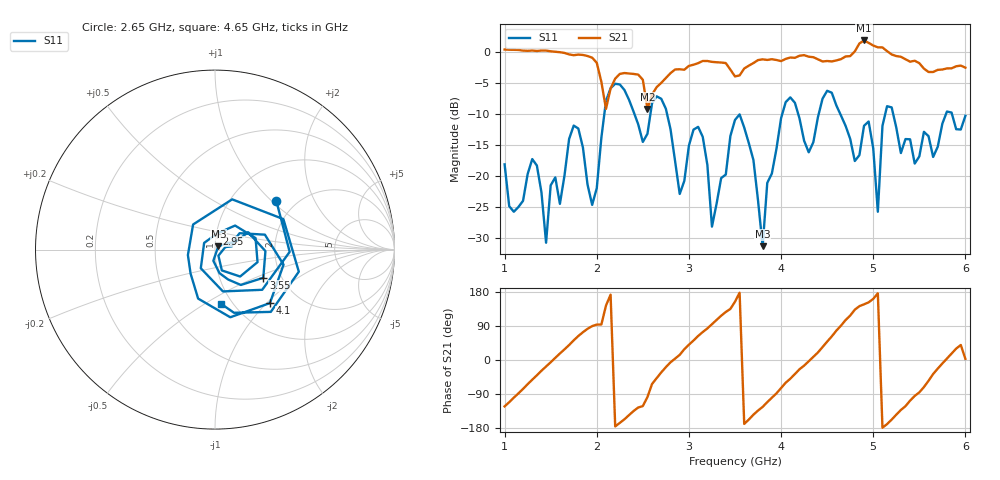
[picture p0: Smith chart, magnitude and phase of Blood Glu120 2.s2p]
! NanoVNA-App
! Date: 2024-03-21 14:39:56
! Start: 1GHz Stop: 6GHz Points: 101
! S-Parameter data: F S11 S21 S12 S22
# Hz S RI R 50
!	Frequency	S11_Real	S11_Imag	S21_Real	S21_Imag	S12_Real	S12_Imag	S22_Real	S22_Imag
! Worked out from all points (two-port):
!   101 points, 1 GHz to 6 GHz, reference 50 ohm
!   highest |S21| = 1.80 dB at 4.9 GHz (marker M1); lowest = -9.2 dB at 2.55 GHz (marker M2)
!   |S21| within 3 dB of the highest: start of sweep to 1.963 GHz; 4.652 GHz to 5.346 GHz (693.9 MHz wide, 13.9 % of centre)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
!   lowest |S11| = -31.4 dB at 3.8 GHz (marker M3), VSWR 1.06, Z = 51.9 + j2.01 ohm
!   |S11| at or under -10 dB: start of sweep to 2.083 GHz; 2.762 GHz to 4.014 GHz (1.253 GHz wide, 37 % of centre); 5.215 GHz to 5.791 GHz (576.1 MHz wide, 10.5 % of centre)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
!   S12 and S22 are empty: the file has one direction only
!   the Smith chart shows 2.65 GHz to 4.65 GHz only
!   S11 on the Smith chart (normalised r, x): 2.65 GHz: 1.60, +1.07; 2.95 GHz: 1.01, +0.18; 3.55 GHz: 1.62, -0.56; 4.1 GHz: 1.43, -1.04; 4.65 GHz: 0.89, -0.59
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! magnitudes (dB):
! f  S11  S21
! 1 GHz  -18.2  0.3
! 1.35 GHz  -18.4  0.1
! 1.45 GHz  -30.8  0.2
! 1.85 GHz  -15.5  -0.5
! 1.95 GHz  -24.7  -1.0
! 2.15 GHz  -5.9  -5.9
! 2.55 GHz  -13.3  -9.2
! 2.65 GHz  -7.2  -5.7
! 2.7 GHz  -7.6  -5.0
! 2.95 GHz  -20.9  -2.9
! 3.1 GHz  -12.1  -1.9
! 3.25 GHz  -28.2  -1.7
! 3.5 GHz  -11.0  -4.0
! 3.55 GHz  -10.1  -3.8
! 3.8 GHz  -31.4  -1.3
! 4.1 GHz  -7.4  -1.0
! 4.35 GHz  -14.6  -0.9
! 4.65 GHz  -10.3  -1.2
! 4.9 GHz  -12.0  1.8
! 5.05 GHz  -25.8  0.7
! 5.2 GHz  -9.0  -0.5
! 6 GHz  -10.4  -2.6
